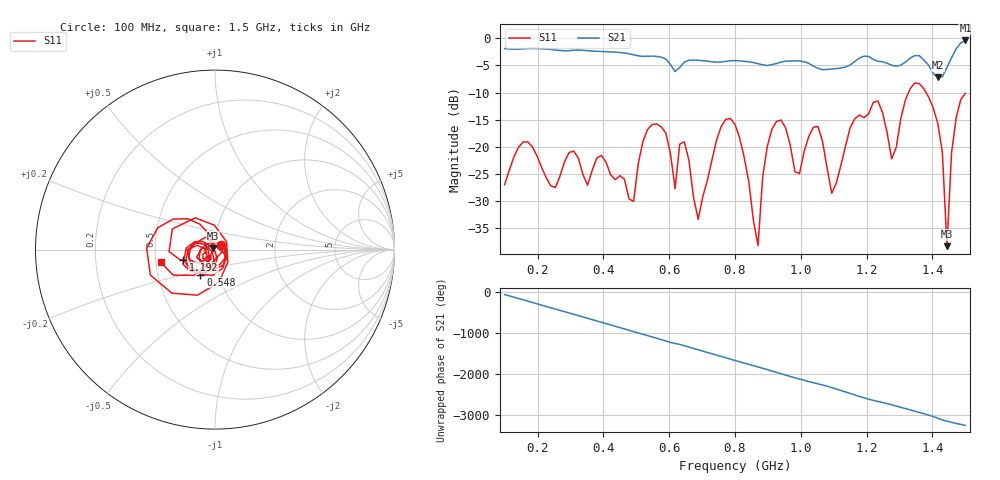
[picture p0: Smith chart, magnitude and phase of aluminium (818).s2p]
! NanoVNA-App
! Date: 2025-09-25 15:01:39
! Start: 100MHz Stop: 1,5GHz Points: 101
! S-Parameter data: F S11 S21 S12 S22
# Hz S RI R 50
!  Frequency  S11_Real  S11_Imag  S21_Real  S21_Imag  S12_Real  S12_Imag  S22_Real  S22_Imag
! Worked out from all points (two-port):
!   101 points, 100 MHz to 1.5 GHz, reference 50 ohm
!   highest |S21| = -0.42 dB at 1.5 GHz (marker M1); lowest = -7.2 dB at 1.416 GHz (marker M2)
!   |S21| within 3 dB of the highest: start of sweep to 568.7 MHz; 1.459 GHz to end of sweep (the widest 2 of 4)
!   lowest |S11| = -38.3 dB at 1.444 GHz (marker M3), VSWR 1.02, Z = 49 + j0.654 ohm
!   |S11| at or under -10 dB: start of sweep to 1.327 GHz; 1.38 GHz to end of sweep
!   S12 and S22 are empty: the file has one direction only
!   S11 on the Smith chart (normalised r, x): 100 MHz: 1.07, +0.06; 548 MHz: 0.82, -0.23; 1.192 GHz: 0.70, -0.08; 1.5 GHz: 0.53, -0.08
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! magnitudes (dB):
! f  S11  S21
! 100 MHz  -27.0  -1.9
! 156 MHz  -19.1  -2.0
! 338 MHz  -25.1  -2.2
! 492 MHz  -30.0  -3.1
! 548 MHz  -15.9  -3.3
! 576 MHz  -16.3  -3.5
! 618 MHz  -27.7  -6.1
! 646 MHz  -19.1  -4.4
! 688 MHz  -33.3  -4.1
! 800 MHz  -15.9  -4.1
! 870 MHz  -38.2  -4.7
! 912 MHz  -16.8  -4.9
! 996 MHz  -24.9  -4.2
! 1.038 GHz  -16.4  -5.1
! 1.094 GHz  -28.5  -5.7
! 1.192 GHz  -14.6  -3.3
! 1.276 GHz  -22.2  -5.0
! 1.346 GHz  -8.2  -3.2
! 1.416 GHz  -15.7  -7.2
! 1.444 GHz  -38.3  -5.3
! 1.458 GHz  -21.1  -3.6
! 1.5 GHz  -10.1  -0.4
